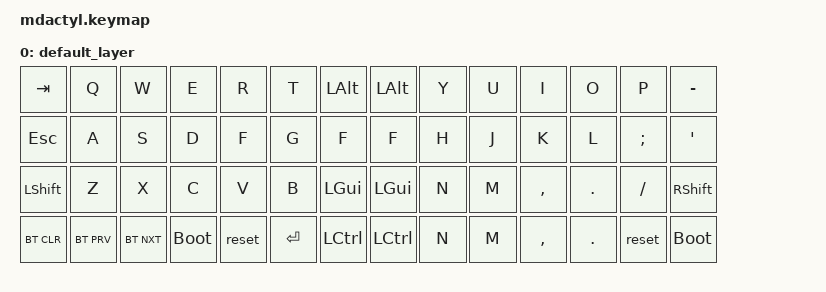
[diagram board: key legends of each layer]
#include <behaviors.dtsi>
#include <dt-bindings/zmk/keys.h>
#include <dt-bindings/zmk/bt.h>

/ {
    keymap {
        compatible = "zmk,keymap";

        default_layer {
//
// ,-----------------------------------------.                    ,-----------------------------------------.
// | Del  |   Q  |   W  |   E  |   R  |   T  |                    |   Y  |   U  |   I  |   O  |   P  |  \   |
// |------+------+------+------+------+------|                    |------+------+------+------+------+------|
// | BkSp |   A  |   S  |   D  |   F  |   G  |                    |   H  |   J  |   K  |   L  |; / L2|'/Cmd |
// |------+------+------+------+------+------|                    |------+------+------+------+------+------|
// |LShift|Z/Ctrl|   X  |   C  |   V  |  2,5 |                    |   N  |   M  |   ,  |   .  |//Ctrl|RShift|
// |------+------+------+------+------+------'                    `------+------+------+------+------+------|
// |Grv/L1|  '"  |AltShf| Left | Right|                                  |  Up  | Down |   [  |   ]  | ~L1  |
// `----------------------------------'                                  `----------------------------------'
//                                      ,-------------.  ,-------------.
//                                      | cmd  | opt  |  | Alt  | ^/Esc|
//                               ,------|------|------|  |------+------+------.
//                               |      |      |      |  |      |      |      |
//                               |      |      |      |  |      |  Tab |Enter |
//                               |back  | ctrl | F    |  | PgDn |      |      |
//                               `--------------------'  `--------------------'
//
          bindings = <
    &kp TAB    &kp Q       &kp W       &kp E       &kp R  &kp T   &kp LALT        &kp LALT  &kp Y  &kp U  &kp I     &kp O   &kp P    &kp MINUS
    &kp ESC    &kp A       &kp S       &kp D       &kp F  &kp G   &kp F           &kp F     &kp H  &kp J  &kp K     &kp L   &kp SEMI &kp SQT  
    &kp LSHFT  &kp Z       &kp X       &kp C       &kp V  &kp B   &kp LGUI        &kp LGUI  &kp N  &kp M  &kp COMMA &kp DOT &kp FSLH &kp RSHFT
    &bt BT_CLR &bt BT_PRV  &bt BT_NXT  &bootloader &reset &kp RET &kp LCTRL       &kp LCTRL &kp N  &kp M  &kp COMMA &kp DOT &reset   &bootloader
          >;
        };
    };
};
